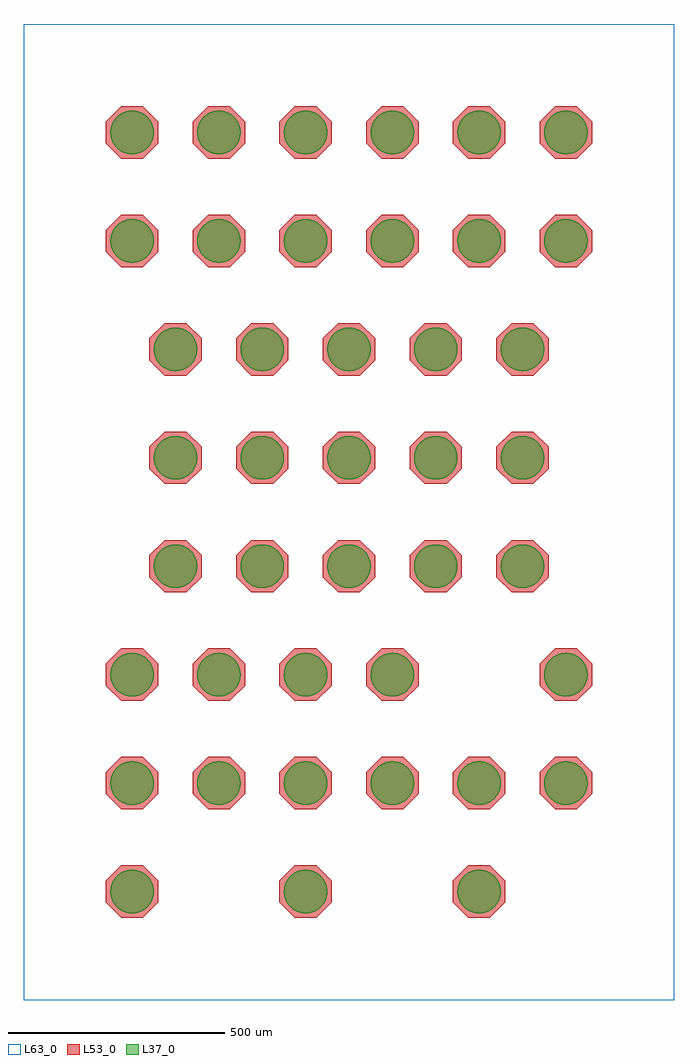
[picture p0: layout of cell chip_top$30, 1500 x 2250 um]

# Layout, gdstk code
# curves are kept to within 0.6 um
import gdstk
lib = gdstk.Library(unit=1e-6, precision=1e-09)
def R(c, l, rs):  # rectangles x0, y0, x1, y1
    for r in rs: c.add(gdstk.rectangle(r[:2], r[2:], *l))
def P(c, l, *ps):  # polygons
    for p in ps: c.add(gdstk.Polygon(p, *l))
L37_0 = (37, 0)
L53_0 = (53, 0)
L63_0 = (63, 0)

regular_polygon_270ce61c = lib.new_cell('regular_polygon_270ce61c')
P(regular_polygon_270ce61c, L53_0, [(25,-60.355),(60.355,-25),(60.355,25),(25,60.355),(-25,60.355),(-60.355,25),(-60.355,-25),(-25,-60.355)])

circle_2d2a45bd = lib.new_cell('circle_2d2a45bd')
P(circle_2d2a45bd, L37_0, [(50,0),(48.907,10.396),(46.025,19.537),(41.452,27.96),(35.355,35.355),(27.96,41.452),(19.537,46.025),(10.396,48.907),(0,50),(-10.396,48.907),(-19.537,46.025),(-27.96,41.452),(-35.355,35.355),(-41.452,27.96),(-46.025,19.537),(-48.907,10.396),(-50,0),(-48.907,-10.396),(-46.025,-19.537),(-41.452,-27.96),(-35.355,-35.355),(-27.96,-41.452),(-19.537,-46.025),(-10.396,-48.907),(0,-50),(10.396,-48.907),(19.537,-46.025),(27.96,-41.452),(35.355,-35.355),(41.452,-27.96),(46.025,-19.537),(48.907,-10.396)])

c4_bump_octagon_42bdd42d = lib.new_cell('c4_bump_octagon_42bdd42d')
c4_bump_octagon_42bdd42d.add(gdstk.Reference(regular_polygon_270ce61c, (0,0)))
c4_bump_octagon_42bdd42d.add(gdstk.Reference(circle_2d2a45bd, (0,0)))
c4_bump_octagon_42bdd42d.add(gdstk.Label('DVSS', (0,0), layer=53, texttype=10))

array_7bf9ad56 = lib.new_cell('array_7bf9ad56')
r = gdstk.Reference(c4_bump_octagon_42bdd42d, (0,0)); r.repetition = gdstk.Repetition(3, 2, v1=(400,0), v2=(0,250)); array_7bf9ad56.add(r)

c4_bump_octagon_47b60428 = lib.new_cell('c4_bump_octagon_47b60428')
c4_bump_octagon_47b60428.add(gdstk.Reference(regular_polygon_270ce61c, (0,0)))
c4_bump_octagon_47b60428.add(gdstk.Reference(circle_2d2a45bd, (0,0)))
c4_bump_octagon_47b60428.add(gdstk.Label('DVDD', (0,0), layer=53, texttype=10))

array_2af7f0b4 = lib.new_cell('array_2af7f0b4')
r = gdstk.Reference(c4_bump_octagon_47b60428, (0,0)); r.repetition = gdstk.Repetition(3, 2, v1=(400,0), v2=(0,250)); array_2af7f0b4.add(r)

mixed_array_27 = lib.new_cell('mixed_array$27')
mixed_array_27.add(gdstk.Reference(array_7bf9ad56, (0,0)))
mixed_array_27.add(gdstk.Reference(array_2af7f0b4, (200,0)))

c4_bump_octagon_afd47236 = lib.new_cell('c4_bump_octagon_afd47236')
c4_bump_octagon_afd47236.add(gdstk.Reference(regular_polygon_270ce61c, (0,0)))
c4_bump_octagon_afd47236.add(gdstk.Reference(circle_2d2a45bd, (0,0)))
c4_bump_octagon_afd47236.add(gdstk.Label('IO0', (0,0), layer=53, texttype=10))

c4_bump_octagon_28dd3c04 = lib.new_cell('c4_bump_octagon_28dd3c04')
c4_bump_octagon_28dd3c04.add(gdstk.Reference(regular_polygon_270ce61c, (0,0)))
c4_bump_octagon_28dd3c04.add(gdstk.Reference(circle_2d2a45bd, (0,0)))
c4_bump_octagon_28dd3c04.add(gdstk.Label('IO1', (0,0), layer=53, texttype=10))

c4_bump_octagon_e2f25c8b = lib.new_cell('c4_bump_octagon_e2f25c8b')
c4_bump_octagon_e2f25c8b.add(gdstk.Reference(regular_polygon_270ce61c, (0,0)))
c4_bump_octagon_e2f25c8b.add(gdstk.Reference(circle_2d2a45bd, (0,0)))
c4_bump_octagon_e2f25c8b.add(gdstk.Label('IO2', (0,0), layer=53, texttype=10))

c4_bump_octagon_d3dd4604 = lib.new_cell('c4_bump_octagon_d3dd4604')
c4_bump_octagon_d3dd4604.add(gdstk.Reference(regular_polygon_270ce61c, (0,0)))
c4_bump_octagon_d3dd4604.add(gdstk.Reference(circle_2d2a45bd, (0,0)))
c4_bump_octagon_d3dd4604.add(gdstk.Label('IO5', (0,0), layer=53, texttype=10))

c4_bump_octagon_97bd581c = lib.new_cell('c4_bump_octagon_97bd581c')
c4_bump_octagon_97bd581c.add(gdstk.Reference(regular_polygon_270ce61c, (0,0)))
c4_bump_octagon_97bd581c.add(gdstk.Reference(circle_2d2a45bd, (0,0)))
c4_bump_octagon_97bd581c.add(gdstk.Label('IO6', (0,0), layer=53, texttype=10))

c4_bump_octagon_aad7f481 = lib.new_cell('c4_bump_octagon_aad7f481')
c4_bump_octagon_aad7f481.add(gdstk.Reference(regular_polygon_270ce61c, (0,0)))
c4_bump_octagon_aad7f481.add(gdstk.Reference(circle_2d2a45bd, (0,0)))
c4_bump_octagon_aad7f481.add(gdstk.Label('IO7', (0,0), layer=53, texttype=10))

c4_bump_octagon_4122ef37 = lib.new_cell('c4_bump_octagon_4122ef37')
c4_bump_octagon_4122ef37.add(gdstk.Reference(regular_polygon_270ce61c, (0,0)))
c4_bump_octagon_4122ef37.add(gdstk.Reference(circle_2d2a45bd, (0,0)))
c4_bump_octagon_4122ef37.add(gdstk.Label('IO10', (0,0), layer=53, texttype=10))

c4_bump_octagon_16973d94 = lib.new_cell('c4_bump_octagon_16973d94')
c4_bump_octagon_16973d94.add(gdstk.Reference(regular_polygon_270ce61c, (0,0)))
c4_bump_octagon_16973d94.add(gdstk.Reference(circle_2d2a45bd, (0,0)))
c4_bump_octagon_16973d94.add(gdstk.Label('IO11', (0,0), layer=53, texttype=10))

c4_bump_octagon_592e784b = lib.new_cell('c4_bump_octagon_592e784b')
c4_bump_octagon_592e784b.add(gdstk.Reference(regular_polygon_270ce61c, (0,0)))
c4_bump_octagon_592e784b.add(gdstk.Reference(circle_2d2a45bd, (0,0)))
c4_bump_octagon_592e784b.add(gdstk.Label('IO12', (0,0), layer=53, texttype=10))

c4_bump_octagon_8cc0a2d0 = lib.new_cell('c4_bump_octagon_8cc0a2d0')
c4_bump_octagon_8cc0a2d0.add(gdstk.Reference(regular_polygon_270ce61c, (0,0)))
c4_bump_octagon_8cc0a2d0.add(gdstk.Reference(circle_2d2a45bd, (0,0)))
c4_bump_octagon_8cc0a2d0.add(gdstk.Label('IO15', (0,0), layer=53, texttype=10))

c4_bump_octagon_b95edaf7 = lib.new_cell('c4_bump_octagon_b95edaf7')
c4_bump_octagon_b95edaf7.add(gdstk.Reference(regular_polygon_270ce61c, (0,0)))
c4_bump_octagon_b95edaf7.add(gdstk.Reference(circle_2d2a45bd, (0,0)))
c4_bump_octagon_b95edaf7.add(gdstk.Label('IO16', (0,0), layer=53, texttype=10))

c4_bump_octagon_b83b5fc0 = lib.new_cell('c4_bump_octagon_b83b5fc0')
c4_bump_octagon_b83b5fc0.add(gdstk.Reference(regular_polygon_270ce61c, (0,0)))
c4_bump_octagon_b83b5fc0.add(gdstk.Reference(circle_2d2a45bd, (0,0)))
c4_bump_octagon_b83b5fc0.add(gdstk.Label('IO17', (0,0), layer=53, texttype=10))

c4_bump_octagon_5eab3651 = lib.new_cell('c4_bump_octagon_5eab3651')
c4_bump_octagon_5eab3651.add(gdstk.Reference(regular_polygon_270ce61c, (0,0)))
c4_bump_octagon_5eab3651.add(gdstk.Reference(circle_2d2a45bd, (0,0)))
c4_bump_octagon_5eab3651.add(gdstk.Label('IO20', (0,0), layer=53, texttype=10))

c4_bump_octagon_e56f2e15 = lib.new_cell('c4_bump_octagon_e56f2e15')
c4_bump_octagon_e56f2e15.add(gdstk.Reference(regular_polygon_270ce61c, (0,0)))
c4_bump_octagon_e56f2e15.add(gdstk.Reference(circle_2d2a45bd, (0,0)))
c4_bump_octagon_e56f2e15.add(gdstk.Label('IO21', (0,0), layer=53, texttype=10))

c4_bump_octagon_bcfcd26a = lib.new_cell('c4_bump_octagon_bcfcd26a')
c4_bump_octagon_bcfcd26a.add(gdstk.Reference(regular_polygon_270ce61c, (0,0)))
c4_bump_octagon_bcfcd26a.add(gdstk.Reference(circle_2d2a45bd, (0,0)))
c4_bump_octagon_bcfcd26a.add(gdstk.Label('IO22', (0,0), layer=53, texttype=10))

io_pads_20 = lib.new_cell('io_pads$20')
io_pads_20.add(gdstk.Reference(array_7bf9ad56, (0,0)))
io_pads_20.add(gdstk.Reference(array_2af7f0b4, (200,250)))
io_pads_20.add(gdstk.Reference(mixed_array_27, (0,1500)))
io_pads_20.add(gdstk.Reference(array_7bf9ad56, (0,0)))
io_pads_20.add(gdstk.Reference(c4_bump_octagon_42bdd42d, (0,500)))
io_pads_20.add(gdstk.Reference(c4_bump_octagon_47b60428, (400,500)))
io_pads_20.add(gdstk.Reference(c4_bump_octagon_afd47236, (100,750)))
io_pads_20.add(gdstk.Reference(c4_bump_octagon_28dd3c04, (100,1000)))
io_pads_20.add(gdstk.Reference(c4_bump_octagon_e2f25c8b, (100,1250)))
io_pads_20.add(gdstk.Reference(c4_bump_octagon_d3dd4604, (300,750)))
io_pads_20.add(gdstk.Reference(c4_bump_octagon_97bd581c, (300,1000)))
io_pads_20.add(gdstk.Reference(c4_bump_octagon_aad7f481, (300,1250)))
io_pads_20.add(gdstk.Reference(c4_bump_octagon_4122ef37, (500,750)))
io_pads_20.add(gdstk.Reference(c4_bump_octagon_16973d94, (500,1000)))
io_pads_20.add(gdstk.Reference(c4_bump_octagon_592e784b, (500,1250)))
io_pads_20.add(gdstk.Reference(c4_bump_octagon_8cc0a2d0, (700,750)))
io_pads_20.add(gdstk.Reference(c4_bump_octagon_b95edaf7, (700,1000)))
io_pads_20.add(gdstk.Reference(c4_bump_octagon_b83b5fc0, (700,1250)))
io_pads_20.add(gdstk.Reference(c4_bump_octagon_5eab3651, (900,750)))
io_pads_20.add(gdstk.Reference(c4_bump_octagon_e56f2e15, (900,1000)))
io_pads_20.add(gdstk.Reference(c4_bump_octagon_bcfcd26a, (900,1250)))

compass_5116ec66 = lib.new_cell('compass_5116ec66')
R(compass_5116ec66, L63_0, [(-750,-1125,750,1125)])

rectangle_5116ec66 = lib.new_cell('rectangle_5116ec66')
rectangle_5116ec66.add(gdstk.Reference(compass_5116ec66, (750,1125)))

chip_top_30 = lib.new_cell('chip_top$30')
chip_top_30.add(gdstk.Reference(io_pads_20, (250,250)))
chip_top_30.add(gdstk.Reference(rectangle_5116ec66, (0,0)))

lib.write_gds('chip_top_30.gds')
